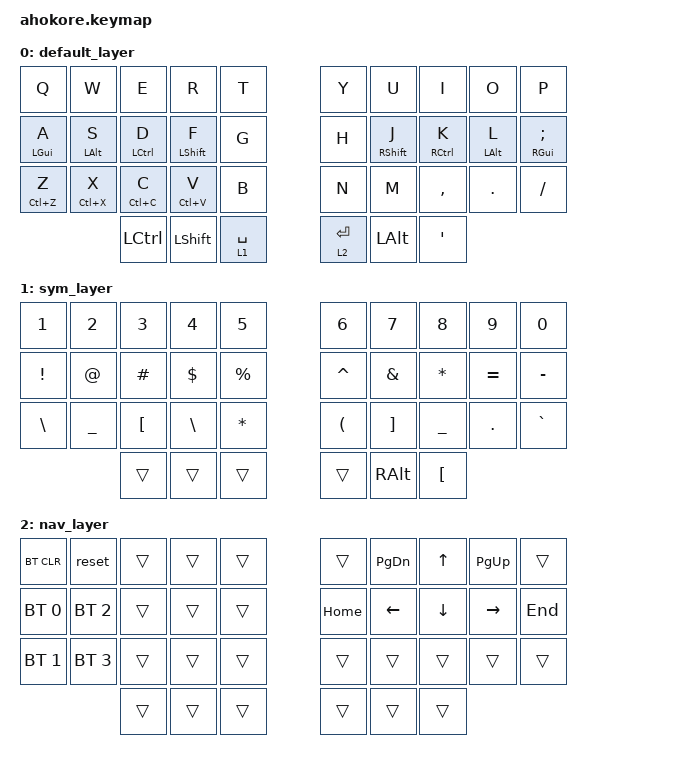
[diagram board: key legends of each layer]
/*
 * Copyright (c) 2020 The ZMK Contributors
 *
 * SPDX-License-Identifier: MIT
 */

#include <behaviors.dtsi>
#include <dt-bindings/zmk/keys.h>
#include <dt-bindings/zmk/bt.h>

/ {

behaviors {
      hm: homerow_mods {
        compatible = "zmk,behavior-hold-tap";
        label = "HOMEROW_MODS";
        #binding-cells = <2>;
        tapping_term_ms = <300>;
        flavor = "tap-preferred";
        bindings = <&kp>, <&kp>;
    };
    
    combos {
    compatible = "zmk,combos";
    combo_del {
        timeout-ms = <50>;
        key-positions = <18 19>;
        bindings = <&kp DEL>;
        layers = <1>;
    };
    combo_bspc {
        timeout-ms = <50>;
        key-positions = <8 9>;
        bindings = <&kp BKSP>;
        layers = <0 1>;
    };
    combo_tab {
        timeout-ms = <50>;
        key-positions = <0 1>;
        bindings = <&kp TAB>;
        layers = <0>;

    };
    combo_esc {
        timeout-ms = <50>;
        key-positions = <1 2>;
        bindings = <&kp ESC>;
        layers = <0>;

    };
};

};
        keymap {
                compatible = "zmk,keymap";

                default_layer {
// -----------------------------------------------------------------------------------------
// |  Q  |  W  |  E  |  R  |  T   |  Y  |  U   |  I  |  O  |  P  |
// |  A  |  S  |  D  |  F  |  G   |  H  |  J   |  K  |  L  |  ;  |
// |  Z  |  X  |  C  |  V  |  B   |  N  |  M   |  ,  |  .  |  /  |
//             | CTL | ALT |  ENT | SPC | GUI  | CTL |
                        bindings = <
   &kp Q &kp W &kp E &kp R &kp T   &kp Y &kp U  &kp I     &kp O   &kp P
   &hm LGUI A &hm LALT S &hm LCTRL D &hm LSHFT F &kp G   &kp H &hm RSHFT J  &hm RCTRL K  &hm LALT L  &hm RGUI SEMI
   &hm LC(Z) Z &hm LC(X) X &hm LC(C) C &hm LC(V) V &kp B   &kp N &kp M  &kp COMMA &kp DOT &kp FSLH
   &kp LCTRL &kp LSHFT &lt 1 SPC &lt 2 RET &kp LALT &kp QUOT
                        >;
                };

                sym_layer {
// -----------------------------------------------------------------------------------------
// |  1  |  2  |  3  |  4  |  5  |  6  |  7  |  8  |  9  |  0  |
// |  !  |  @  |  #  |  $  |  %  |  ^  |  &  |  *  |  =  |  -  |
// |  \  |  {  |  [  |  (  |  _  |  )  |  ]  |  }  |  .  |  `  |
//             | CTL | ALT |  ENT | SPC | GUI  | CTL |
                        bindings = <
   &kp N1    &kp N2    &kp N3    &kp N4      &kp N5      &kp N6    &kp N7    &kp N8    &kp N9     &kp N0
   &kp EXCL  &kp AT    &kp HASH  &kp DOLLAR  &kp PRCNT   &kp CARET &kp AMPS  &kp STAR  &kp EQUAL  &kp MINUS
   &kp BSLH  &kp UNDER  &kp LBKT  &kp BSLH    &kp STAR   &kp LPAR  &kp RBKT  &kp UNDER &kp DOT    &kp GRAVE
   &trans    &trans    &trans    &trans      &kp RALT      &kp LBKT
                        >;
                };

                nav_layer {
// -----------------------------------------------------------------------------------------
// |BTCLR| RST |     |      |     |      | PGDN |  UP  | PGUP |      |
// | BT0 |CMENU|     |      |     | HOME | LEFT | DOWN |RIGHT | END  |
// | BT1 | BOOT|     |      |     |      |      |      |      |      |
//             | CTL | ALT |  ENT | SPC | GUI  | CTL |
                        bindings = <
   &bt BT_CLR   &reset      &trans  &trans &trans     &trans    &kp PG_DN &kp UP    &kp PG_UP &trans
   &bt BT_SEL 0 &bt BT_SEL 2 &trans  &trans &trans     &kp HOME  &kp LEFT  &kp DOWN  &kp RIGHT &kp END
   &bt BT_SEL 1 &bt BT_SEL 3 &trans  &trans &trans     &trans    &trans    &trans    &trans    &trans
   &trans   &trans    &trans     &trans   &trans   &trans
                        >;
                };


        };
};
